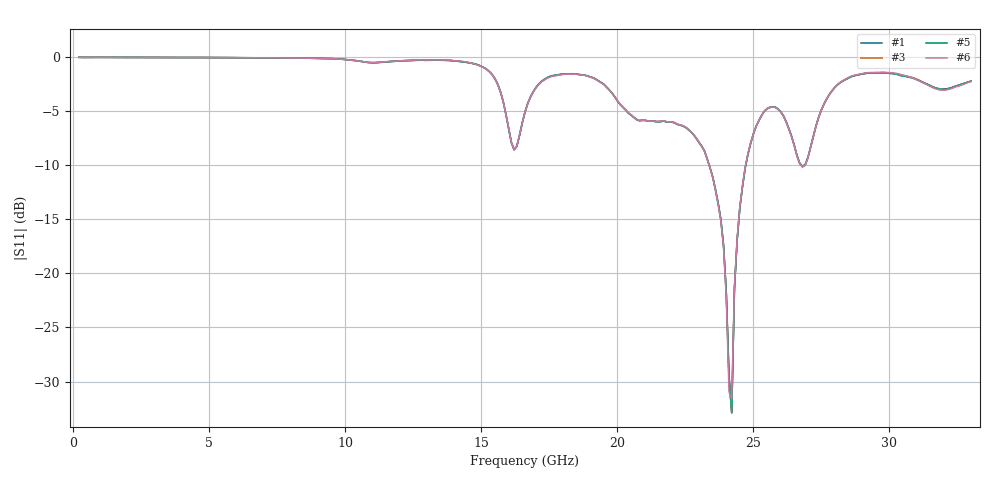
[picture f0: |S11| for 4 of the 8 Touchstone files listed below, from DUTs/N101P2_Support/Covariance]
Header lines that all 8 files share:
# GHZ S RI R 50
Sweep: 200 MHz to 33 GHz
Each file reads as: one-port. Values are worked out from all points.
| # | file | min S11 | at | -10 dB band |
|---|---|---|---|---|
| 1 | N101P2_0.s2p | -32.9 dB | 24.2 GHz | 1.343 GHz wide |
| 2 | N101P2_2.s2p | -32.9 dB | 24.2 GHz | 1.343 GHz wide |
| 3 | N101P2_4.s2p | -32.9 dB | 24.2 GHz | 1.342 GHz wide |
| 4 | N101P2_6.s2p | -32.9 dB | 24.2 GHz | 1.343 GHz wide |
| 5 | N101P2_8.s2p | -32.8 dB | 24.2 GHz | 1.338 GHz wide |
| 6 | N101P2_10.s2p | -31.6 dB | 24.2 GHz | 1.338 GHz wide |
| 7 | N101P2_13.s2p | -32.9 dB | 24.2 GHz | 1.342 GHz wide |
| 8 | N101P2_15.s2p | -32.9 dB | 24.2 GHz | 1.343 GHz wide |
